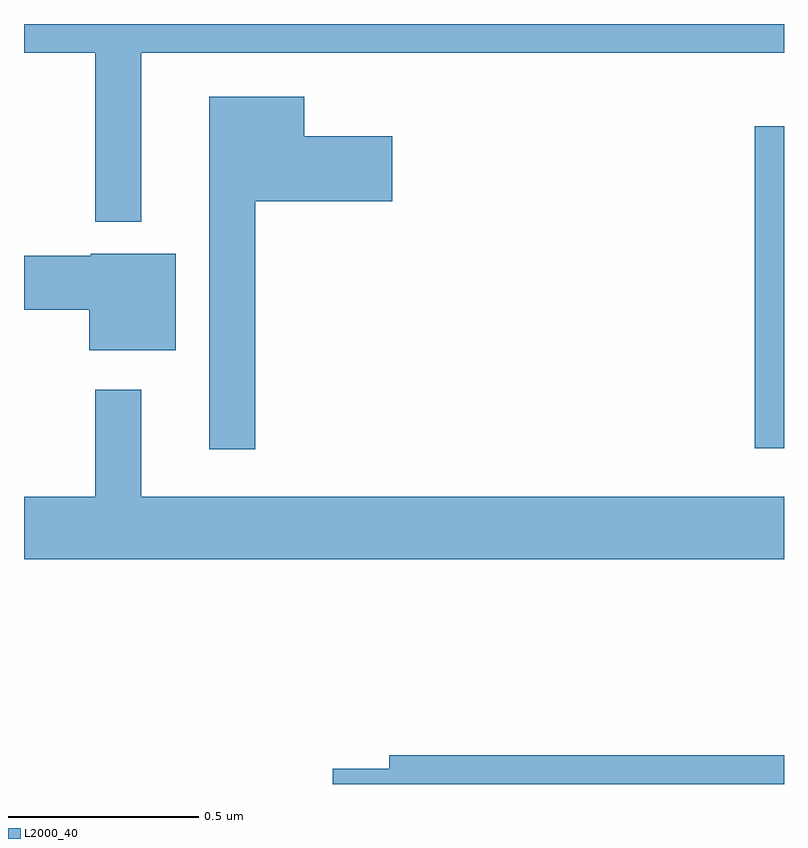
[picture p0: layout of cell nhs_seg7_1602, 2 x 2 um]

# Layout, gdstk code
import gdstk
lib = gdstk.Library(unit=1e-6, precision=1e-09)
def R(c, l, rs):  # rectangles x0, y0, x1, y1
    for r in rs: c.add(gdstk.rectangle(r[:2], r[2:], *l))
def P(c, l, *ps):  # polygons
    for p in ps: c.add(gdstk.Polygon(p, *l))
L2000_40 = (2000, 40)

nhs_seg7_1602 = lib.new_cell('nhs_seg7_1602')
R(nhs_seg7_1602, L2000_40, [(134.923,1024.884,135,1025.731)])
P(nhs_seg7_1602, L2000_40, [(133.309,1025.924),(135,1025.924),(135,1026),(133,1026),(133,1025.924),(133.188,1025.924),(133.188,1025.48),(133.309,1025.48)],
  [(133.609,1025.534),(133.969,1025.534),(133.969,1025.704),(133.738,1025.704),(133.738,1025.809),(133.487,1025.809),(133.487,1024.881),(133.609,1024.881)],
  [(133.399,1025.395),(133.176,1025.395),(133.176,1025.39),(133,1025.39),(133,1025.248),(133.172,1025.248),(133.172,1025.141),(133.399,1025.141)],
  [(135,1024.756),(133.309,1024.756),(133.309,1025.038),(133.188,1025.038),(133.188,1024.756),(133,1024.756),(133,1024.592),(135,1024.592)],
  [(135,1024.076),(133.961,1024.076),(133.961,1024.04),(133.812,1024.04),(133.812,1024),(135,1024)])

lib.write_gds('nhs_seg7_1602.gds')
